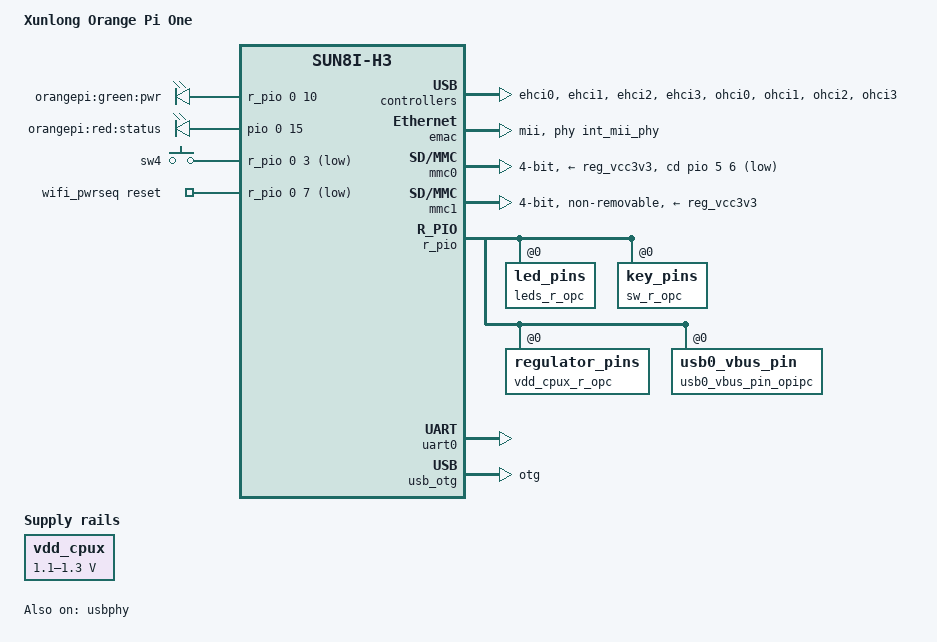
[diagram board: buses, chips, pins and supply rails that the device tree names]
/*
 * Copyright (C) 2016 Hans de Goede <hdegoede@redhat.com>
 *
 * This file is dual-licensed: you can use it either under the terms
 * of the GPL or the X11 license, at your option. Note that this dual
 * licensing only applies to this file, and not this project as a
 * whole.
 *
 *  a) This file is free software; you can redistribute it and/or
 *     modify it under the terms of the GNU General Public License as
 *     published by the Free Software Foundation; either version 2 of the
 *     License, or (at your option) any later version.
 *
 *     This file is distributed in the hope that it will be useful,
 *     but WITHOUT ANY WARRANTY; without even the implied warranty of
 *     MERCHANTABILITY or FITNESS FOR A PARTICULAR PURPOSE.  See the
 *     GNU General Public License for more details.
 *
 * Or, alternatively,
 *
 *  b) Permission is hereby granted, free of charge, to any person
 *     obtaining a copy of this software and associated documentation
 *     files (the "Software"), to deal in the Software without
 *     restriction, including without limitation the rights to use,
 *     copy, modify, merge, publish, distribute, sublicense, and/or
 *     sell copies of the Software, and to permit persons to whom the
 *     Software is furnished to do so, subject to the following
 *     conditions:
 *
 *     The above copyright notice and this permission notice shall be
 *     included in all copies or substantial portions of the Software.
 *
 *     THE SOFTWARE IS PROVIDED "AS IS", WITHOUT WARRANTY OF ANY KIND,
 *     EXPRESS OR IMPLIED, INCLUDING BUT NOT LIMITED TO THE WARRANTIES
 *     OF MERCHANTABILITY, FITNESS FOR A PARTICULAR PURPOSE AND
 *     NONINFRINGEMENT. IN NO EVENT SHALL THE AUTHORS OR COPYRIGHT
 *     HOLDERS BE LIABLE FOR ANY CLAIM, DAMAGES OR OTHER LIABILITY,
 *     WHETHER IN AN ACTION OF CONTRACT, TORT OR OTHERWISE, ARISING
 *     FROM, OUT OF OR IN CONNECTION WITH THE SOFTWARE OR THE USE OR
 *     OTHER DEALINGS IN THE SOFTWARE.
 */

/dts-v1/;
#include "sun8i-h3.dtsi"
#include "sunxi-common-regulators.dtsi"

#include <dt-bindings/gpio/gpio.h>
#include <dt-bindings/input/input.h>
#include <dt-bindings/pinctrl/sun4i-a10.h>
#include <dt-bindings/thermal/thermal.h>

/ {
	model = "Xunlong Orange Pi One";
	compatible = "xunlong,orangepi-one", "allwinner,sun8i-h3";

	aliases {
		serial0 = &uart0;
		ethernet0 = &emac;
	};

	chosen {
		stdout-path = "serial0:115200n8";
	};

	leds {
		compatible = "gpio-leds";
		pinctrl-names = "default";
		pinctrl-0 = <&leds_opc>, <&leds_r_opc>;

		pwr_led {
			label = "orangepi:green:pwr";
			gpios = <&r_pio 0 10 GPIO_ACTIVE_HIGH>;
			default-state = "on";
		};

		status_led {
			label = "orangepi:red:status";
			gpios = <&pio 0 15 GPIO_ACTIVE_HIGH>;
		};
	};

	r_gpio_keys {
		compatible = "gpio-keys";
		pinctrl-names = "default";
		pinctrl-0 = <&sw_r_opc>;

		sw4 {
			label = "sw4";
			linux,code = <BTN_0>;
			gpios = <&r_pio 0 3 GPIO_ACTIVE_LOW>;
		};
	};

	vdd_cpux: gpio-regulator {
		compatible = "regulator-gpio";

		pinctrl-names = "default";
		pinctrl-0 = <&vdd_cpux_r_opc>;

		regulator-name = "vdd-cpux";
		regulator-type = "voltage";
		regulator-boot-on;
		regulator-always-on;
		regulator-min-microvolt = <1100000>;
		regulator-max-microvolt = <1300000>;
		regulator-enable-ramp-delay = <200>; /* 1ms */

		gpios = <&r_pio 0 6 GPIO_ACTIVE_HIGH>;
		gpios-states = <0x1>;
		states = <1100000 0x0
			  1300000 0x1>;
	};

	wifi_pwrseq: wifi_pwrseq {
		compatible = "mmc-pwrseq-simple";
		pinctrl-names = "default";
		pinctrl-0 = <&wifi_pwrseq_pin_orangepi>;
		reset-gpios = <&r_pio 0 7 GPIO_ACTIVE_LOW>; /* PL7 WIFI_EN */
	};
};

&cpu0 {
	operating-points = <
		1200000	1300000
		1008000	1300000
		816000	1100000
		624000	1100000
		480000	1100000
		312000	1100000
		240000	1100000
		120000	1100000
		>;
	#cooling-cells = <2>;
	cooling-min-level = <0>;
	cooling-max-level = <7>;
	cpu0-supply = <&vdd_cpux>;
};

&cpu_thermal {
	trips {
		cpu_warm: cpu_warm {
			temperature = <65000>;
			hysteresis = <2000>;
			type = "passive";
		};
		cpu_hot: cpu_hot {
			temperature = <75000>;
			hysteresis = <2000>;
			type = "passive";
		};
		cpu_very_hot: cpu_very_hot {
			temperature = <90000>;
			hysteresis = <2000>;
			type = "passive";
		};
		cpu_crit: cpu_crit {
			temperature = <105000>;
			hysteresis = <2000>;
			type = "critical";
		};
	};

	cooling-maps {
		cpu_warm_limit_cpu {
			trip = <&cpu_warm>;
			cooling-device = <&cpu0 THERMAL_NO_LIMIT 2>;
		};
		cpu_hot_limit_cpu {
			trip = <&cpu_hot>;
			cooling-device = <&cpu0 2 4>;
		};
		cpu_very_hot_limit_cpu {
			trip = <&cpu_very_hot>;
			cooling-device = <&cpu0 6 THERMAL_NO_LIMIT>;
		};
	};
};

&ehci0 {
	status = "okay";
};

&ehci1 {
	status = "okay";
};

&emac {
	phy-handle = <&int_mii_phy>;
	phy-mode = "mii";
	allwinner,leds-active-low;
	status = "okay";
};

&ehci2 {
	status = "okay";
};

&ehci3 {
	status = "okay";
};

&mmc0 {
	pinctrl-names = "default";
	pinctrl-0 = <&mmc0_pins_a>, <&mmc0_cd_pin>;
	vmmc-supply = <&reg_vcc3v3>;
	bus-width = <4>;
	cd-gpios = <&pio 5 6 GPIO_ACTIVE_HIGH>; /* PF6 */
	cd-inverted;
	status = "okay";
};

&ohci0 {
	status = "okay";
};

&mmc1 {
	pinctrl-names = "default";
	pinctrl-0 = <&mmc1_pins_a>;
	vmmc-supply = <&reg_vcc3v3>;
	mmc-pwrseq = <&wifi_pwrseq>;
	bus-width = <4>;
	non-removable;
	status = "okay";
};

&ohci1 {
	status = "okay";
};

&ohci2 {
	status = "okay";
};

&ohci3 {
	status = "okay";
};

&pio {
	leds_opc: led_pins@0 {
		allwinner,pins = "PA15";
		allwinner,function = "gpio_out";
		allwinner,drive = <SUN4I_PINCTRL_10_MA>;
		allwinner,pull = <SUN4I_PINCTRL_NO_PULL>;
	};

	usb0_id_detect_pin: usb0_id_detect_pin@0 {
		allwinner,pins = "PG12";
		allwinner,function = "gpio_in";
		allwinner,drive = <SUN4I_PINCTRL_10_MA>;
		allwinner,pull = <SUN4I_PINCTRL_NO_PULL>;
	};

        wifi_pwrseq_pin_orangepi: wifi_pwrseq_pin@0 {
                allwinner,pins = "PL7";
                allwinner,function = "gpio_out";
                allwinner,drive = <SUN4I_PINCTRL_10_MA>;
                allwinner,pull = <SUN4I_PINCTRL_NO_PULL>;
        };
};

&r_pio {
	leds_r_opc: led_pins@0 {
		allwinner,pins = "PL10";
		allwinner,function = "gpio_out";
		allwinner,drive = <SUN4I_PINCTRL_10_MA>;
		allwinner,pull = <SUN4I_PINCTRL_NO_PULL>;
	};

	sw_r_opc: key_pins@0 {
		allwinner,pins = "PL3";
		allwinner,function = "gpio_in";
		allwinner,drive = <SUN4I_PINCTRL_10_MA>;
		allwinner,pull = <SUN4I_PINCTRL_NO_PULL>;
	};

	vdd_cpux_r_opc: regulator_pins@0 {
		allwinner,pins = "PL6";
		allwinner,function = "gpio_out";
		allwinner,drive = <SUN4I_PINCTRL_10_MA>;
		allwinner,pull = <SUN4I_PINCTRL_NO_PULL>;
	};

	usb0_vbus_pin_opipc: usb0_vbus_pin@0 {
		allwinner,pins = "PL2";
		allwinner,function = "gpio_out";
		allwinner,drive = <SUN4I_PINCTRL_10_MA>;
		allwinner,pull = <SUN4I_PINCTRL_NO_PULL>;
	};
};

&reg_usb0_vbus {
	pinctrl-0 = <&usb0_vbus_pin_opipc>;
	gpio = <&r_pio 0 2 GPIO_ACTIVE_HIGH>; /* PL2 */
	status = "okay";
};

&uart0 {
	pinctrl-names = "default";
	pinctrl-0 = <&uart0_pins_a>;
	status = "okay";
};

&usb_otg {
	dr_mode = "otg";
	status = "okay";
};

&usbphy {
	/* USB VBUS is always on except for the OTG port */
	status = "okay";
	pinctrl-names = "default";
	pinctrl-0 = <&usb0_id_detect_pin>;
	usb0_id_det-gpios = <&pio 6 12 GPIO_ACTIVE_HIGH>; /* PG12 */
	usb0_vbus-supply = <&reg_usb0_vbus>;
};
